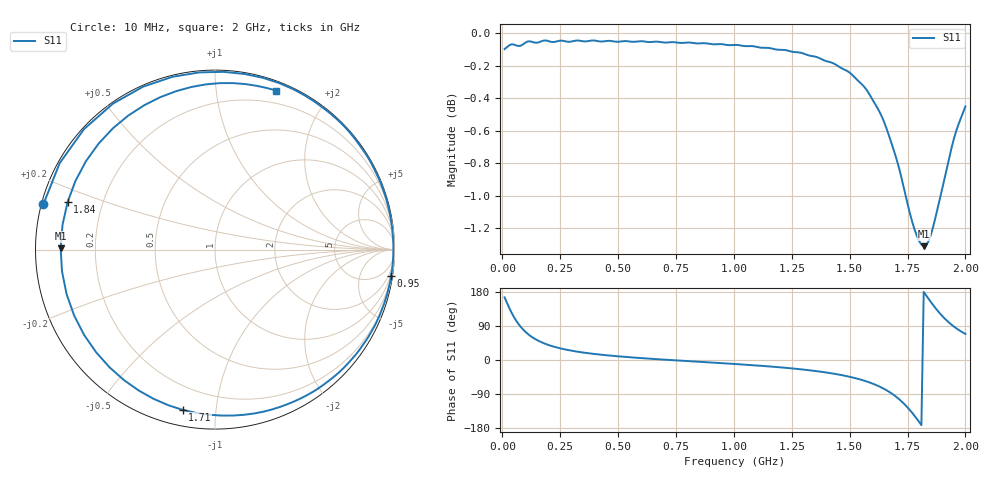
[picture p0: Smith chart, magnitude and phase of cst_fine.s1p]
! H_s8_cap_20: PDN loop: BGA pin field to a 0402 capacitor 20 mm away
! stackup: 8-layer 1.6 mm FR-4 (generic)
! ports: 1 IC pins
! CST Studio Suite 2025.5 Release from 2025-05-30, time domain (FIT, hexahedral, PBA), 155904 mesh cells, 173 s
! mesh: {'lpw': 30.0, 'lpb': 30.0, 'minstep': 0.0, 'ratio': 20}; ports: port 1 (edge)
! interpolated from CST's 1001 samples to the case grid
# Hz S RI R 1
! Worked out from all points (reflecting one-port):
!   200 points, 10 MHz to 2 GHz, reference 1 ohm
!   lowest |S11| = -1.3 dB at 1.82 GHz (marker M1), VSWR 13.29, Z = 0.0752 + j0.00449 ohm
!   phase of S11 starts at 165 deg and turns -456 deg over the sweep
!   S11 on the Smith chart (normalised r, x): 10 MHz: 0.01, +0.13; 950 MHz: 1, -14; 1.71 GHz: 0.08, -0.82; 1.84 GHz: 0.08, +0.16; 2 GHz: 0.08, +1.46
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1e7  -0.9565 0.2514
3e7  -0.7306 0.6705
4e7  -0.5692 0.8129
5e7  -0.3998 0.908
7e7  -0.0862 0.9874
1e8  0.2679 0.9567
1.4e8  0.5555 0.8237
1.9e8  0.7436 0.6612
2.6e8  0.8673 0.4874
3.6e8  0.9412 0.3207
5.1e8  0.9814 0.1595
7.6e8  0.9932 -0.0237
9.5e8  0.9817 -0.1453
1.01e9  0.9745 -0.1849
1.26e9  0.9104 -0.381
1.41e9  0.813 -0.5474
1.51e9  0.6783 -0.6952
1.62e9  0.3626 -0.8765
1.67e9  0.1025 -0.9245
1.71e9  -0.1797 -0.893
1.76e9  -0.5876 -0.6558
1.79e9  -0.785 -0.3669
1.82e9  -0.86 0.00777
1.84e9  -0.8216 0.2637
1.88e9  -0.568 0.6765
1.91e9  -0.3048 0.8492
1.95e9  0.0271 0.9275
2e9  0.3421 0.8858
